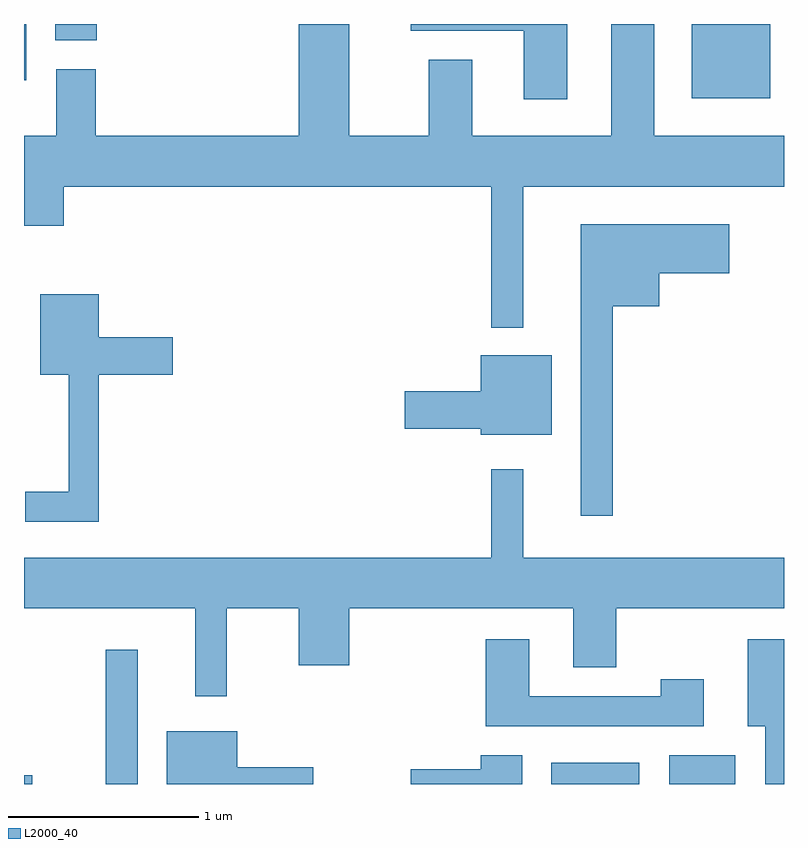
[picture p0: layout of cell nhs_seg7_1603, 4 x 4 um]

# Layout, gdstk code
import gdstk
lib = gdstk.Library(unit=1e-6, precision=1e-09)
def R(c, l, rs):  # rectangles x0, y0, x1, y1
    for r in rs: c.add(gdstk.rectangle(r[:2], r[2:], *l))
def P(c, l, *ps):  # polygons
    for p in ps: c.add(gdstk.Polygon(p, *l))
L2000_40 = (2000, 40)

nhs_seg7_1603 = lib.new_cell('nhs_seg7_1603')
R(nhs_seg7_1603, L2000_40, [(233.611,1742.252,233.654,1742.299), (234.041,1742.252,234.209,1742.958), (236.386,1742.252,236.849,1742.364), (237.006,1742.252,237.354,1742.404), (237.126,1745.861,237.539,1746.252), (233.611,1745.956,233.624,1746.252), (233.776,1746.166,233.994,1746.252)])
P(nhs_seg7_1603, L2000_40, [(236.469,1746.252),(235.646,1746.252),(235.646,1746.216),(236.241,1746.216),(236.241,1745.856),(236.469,1745.856)],
  [(236.239,1745.396),(237.611,1745.396),(237.611,1745.664),(236.929,1745.664),(236.929,1746.252),(236.701,1746.252),(236.701,1745.664),(235.969,1745.664),(235.969,1746.064),(235.741,1746.064),(235.741,1745.664),(235.324,1745.664),(235.324,1746.252),(235.056,1746.252),(235.056,1745.664),(233.989,1745.664),(233.989,1746.014),(233.781,1746.014),(233.781,1745.664),(233.611,1745.664),(233.611,1745.191),(233.819,1745.191),(233.819,1745.396),(236.071,1745.396),(236.071,1744.653),(236.239,1744.653)],
  [(236.709,1744.766),(236.954,1744.766),(236.954,1744.941),(237.324,1744.941),(237.324,1745.199),(236.541,1745.199),(236.541,1743.663),(236.709,1743.663)],
  [(234.004,1744.406),(234.394,1744.406),(234.394,1744.604),(234.004,1744.604),(234.004,1744.829),(233.696,1744.829),(233.696,1744.406),(233.846,1744.406),(233.846,1743.789),(233.618,1743.789),(233.618,1743.631),(234.004,1743.631)],
  [(236.389,1744.509),(236.016,1744.509),(236.016,1744.319),(235.616,1744.319),(235.616,1744.121),(236.016,1744.121),(236.016,1744.091),(236.389,1744.091)],
  [(234.679,1743.176),(235.056,1743.176),(235.056,1742.876),(235.324,1742.876),(235.324,1743.176),(236.501,1743.176),(236.501,1742.866),(236.729,1742.866),(236.729,1743.176),(237.611,1743.176),(237.611,1743.444),(236.239,1743.444),(236.239,1743.908),(236.071,1743.908),(236.071,1743.444),(233.611,1743.444),(233.611,1743.176),(234.511,1743.176),(234.511,1742.713),(234.679,1742.713)],
  [(237.611,1743.014),(237.421,1743.014),(237.421,1742.556),(237.511,1742.556),(237.511,1742.252),(237.611,1742.252)],
  [(237.189,1742.804),(236.961,1742.804),(236.961,1742.714),(236.269,1742.714),(236.269,1743.014),(236.041,1743.014),(236.041,1742.556),(237.189,1742.556)],
  [(235.134,1742.339),(234.734,1742.339),(234.734,1742.529),(234.361,1742.529),(234.361,1742.252),(235.134,1742.252)],
  [(236.234,1742.404),(236.016,1742.404),(236.016,1742.329),(235.646,1742.329),(235.646,1742.252),(236.234,1742.252)])

lib.write_gds('nhs_seg7_1603.gds')
